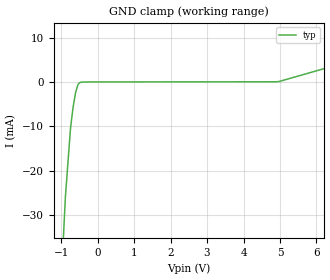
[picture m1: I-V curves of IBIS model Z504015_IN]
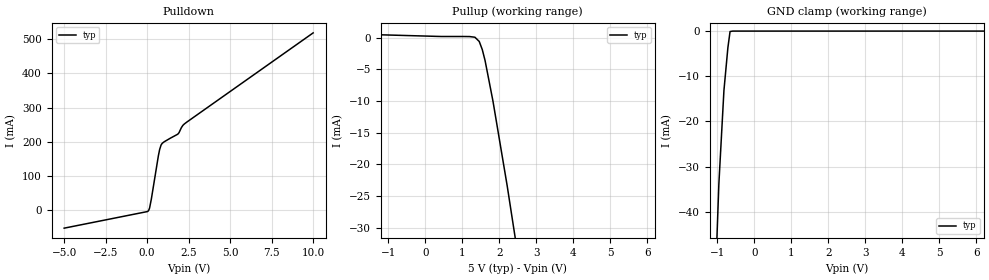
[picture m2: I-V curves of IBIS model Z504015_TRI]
| YOU ARE ONLY AUTHORIZED TO USE THIS SOFTWARE
| ACCORDING TO LICENSOR'S LICENSE RESTRICTIONS.
[IBIS Ver] 3.1
[File Name] mc74f367d.ibs
[File Rev] 2.0
[Source] Measured and created by ICX Technology
[Date] Friday 7/14/00 9:08:05 AM
[Copyright]
| (C) COPYRIGHT 1993-2000
| MENTOR GRAPHICS CORPORATION
| ICX STANDARD LIBRARY, ICX PROJECT MODELING,
| ICX CUSTOM MODELING, ICX VENDOR MODEL
| ALL RIGHTS RESERVED.
| THE FOLLOWING ARE TRADEMARKS OR SERVICE MARKS OF
| MENTOR GRAPHICS CORPORATION:ICX (R), ICX STANDARD
| LIBRARY(R), ICX PROJECT MODELING(R), ICX CUSTOM
| MODELING(R), qualityIBIS(TM), MODELVIEWER(TM),
| AND MODELEDITOR(TM)
| ALL COPIES OF SOFTWARE, INCLUDING BUT NOT LIMITED TO
| ANY MODIFICATIONS, ENHANCEMENTS OR DERIVATIVE WORKS,
| MUST CONTAIN ALL MENTOR GRAPHICS CORPORATION'S
| NOTICES AND LEGENDS, INCLUDING THOSE EMBEDDED IN
| SOFTWARE AND THOSE AFFIXED TO SOFTWARE MEDIUM
| AND CONTAINER, AS RECEIVED FROM MENTOR GRAPHICS
| CORPORATION.
|  ZAP Model Builder 2.7
[Component] MC74F367D
[Manufacturer] OnSemiconductor
[Package]
| variable   typ   min   max
R_pkg  .212ohms NA NA
L_pkg  4.758nH NA NA
C_pkg  1.143pF NA NA
[Pin] signal_name  model_name  R_pin  L_pin C_pin
1 _G1 Z504015_IN .224 7.258n 1.578p
2 A0 Z504015_IN .216 5.258n 1.288p
3 Y0 Z504015_TRI .208 3.758n .998p
4 A1 Z504015_IN .2 2.758n .708p
5 Y1 Z504015_TRI .2 2.758n .708p
6 A2 Z504015_IN .208 3.758n .998p
7 Y2 Z504015_TRI .216 5.258n 1.288p
8 GROUND GND .224 7.258n 1.578p
9 Y3 Z504015_TRI .224 7.258n 1.578p
10 A3 Z504015_IN .216 5.258n 1.288p
11 Y4 Z504015_TRI .208 3.758n .998p
12 A4 Z504015_IN .2 2.758n .708p
13 Y5 Z504015_TRI .2 2.758n .708p
14 A5 Z504015_IN .208 3.758n .998p
15 _G2 Z504015_IN .216 5.258n 1.288p
16 VCC POWER .224 7.258n 1.578p
| Models and submodels in the file (2): Z504015_IN (Input), Z504015_TRI (3-state)
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| (C) COPYRIGHT 1993-2000
| MENTOR GRAPHICS CORPORATION
| ICX STANDARD LIBRARY, ICX PROJECT MODELING,
| ICX CUSTOM MODELING, ICX VENDOR MODEL
| ALL RIGHTS RESERVED.
| THE FOLLOWING ARE TRADEMARKS OR SERVICE MARKS OF
| MENTOR GRAPHICS CORPORATION:ICX (R), ICX STANDARD
| LIBRARY(R), ICX PROJECT MODELING(R), ICX CUSTOM
| MODELING(R), qualityIBIS(TM), MODELVIEWER(TM),
| AND MODELEDITOR(TM)
| ALL COPIES OF SOFTWARE, INCLUDING BUT NOT LIMITED TO
| ANY MODIFICATIONS, ENHANCEMENTS OR DERIVATIVE WORKS,
| MUST CONTAIN ALL MENTOR GRAPHICS CORPORATION'S
| NOTICES AND LEGENDS, INCLUDING THOSE EMBEDDED IN
| SOFTWARE AND THOSE AFFIXED TO SOFTWARE MEDIUM
| AND CONTAINER, AS RECEIVED FROM MENTOR GRAPHICS
| CORPORATION.
| Model Application Version 1.89 2/18/99.
[Model] Z504015_IN
Model_type Input
Vinl = 800.0mV
Vinh = 2.000V
C_comp 4.000pF NA NA
| variable typ   min   max
[Voltage Range] 5.000V NA NA
[GND Clamp Reference] 0.000V NA NA
[POWER Clamp Reference] 5.000V NA NA
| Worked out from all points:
|   GND clamp passes 1 mA (typ) near -0.55 V on its own axis
[GND Clamp]
-5V       -723.9mA   NA         NA
-883.7mV  -26.03mA   NA         NA
-742.1mV  -10.43mA   NA         NA
-671.5mV  -5.666mA   NA         NA
-603.6mV  -2.401mA   NA         NA
-542.1mV  -704.5uA   NA         NA
-527.3mV  -447.4uA   NA         NA
-449mV    -34.24uA   NA         NA
4.974V    95.88uA    NA         NA
10V       11.92mA    NA         NA
[POWER Clamp]
-5V       0A         NA         NA
10V       0A         NA         NA
| (C) COPYRIGHT 1993-2000
| MENTOR GRAPHICS CORPORATION
| ICX STANDARD LIBRARY, ICX PROJECT MODELING,
| ICX CUSTOM MODELING, ICX VENDOR MODEL
| ALL RIGHTS RESERVED.
| THE FOLLOWING ARE TRADEMARKS OR SERVICE MARKS OF
| MENTOR GRAPHICS CORPORATION:ICX (R), ICX STANDARD
| LIBRARY(R), ICX PROJECT MODELING(R), ICX CUSTOM
| MODELING(R), qualityIBIS(TM), MODELVIEWER(TM),
| AND MODELEDITOR(TM)
| ALL COPIES OF SOFTWARE, INCLUDING BUT NOT LIMITED TO
| ANY MODIFICATIONS, ENHANCEMENTS OR DERIVATIVE WORKS,
| MUST CONTAIN ALL MENTOR GRAPHICS CORPORATION'S
| NOTICES AND LEGENDS, INCLUDING THOSE EMBEDDED IN
| SOFTWARE AND THOSE AFFIXED TO SOFTWARE MEDIUM
| AND CONTAINER, AS RECEIVED FROM MENTOR GRAPHICS
| CORPORATION.
| Model Application Version 1.89 2/18/99.
[Model] Z504015_TRI
Model_type 3-state
Vref=0.000V
Rref=500.0ohms
Cref=50.00pF
Vmeas=1.500V
C_comp 8.000pF NA NA
| variable typ   min   max
[Voltage Range] 5.000V NA NA
[POWER Clamp Reference] 5.000V NA NA
[Pullup Reference] 5.000V NA NA
[Pulldown Reference] 0.000V NA NA
[GND Clamp Reference] 0.000V NA NA
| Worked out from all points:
|   slope of the pulldown table from 0 to 0.75 V, typ, clamps not added: 4.15 ohm
|   slope of the pullup table from 0 to 0.75 V, typ, clamps not added: 10.7 kohm
|   GND clamp passes 1 mA (typ) near -0.67 V on its own axis
[GND Clamp]
-5V       -1.358A    NA         NA
-1.069V   -59.47mA   NA         NA
-956.9mV  -33.87mA   NA         NA
-820.2mV  -13.19mA   NA         NA
-712.9mV  -3.67mA    NA         NA
-654.3mV  -96.88uA   NA         NA
-581.6mV  0A         NA         NA
10V       0A         NA         NA
[Pulldown]
-5V       -52.15mA   NA         NA
33.91mV   -3.345mA   NA         NA
146.4mV   6.461mA    NA         NA
253.9mV   33.02mA    NA         NA
674.5mV   158.6mA    NA         NA
752mV     177.3mA    NA         NA
839.9mV   190.8mA    NA         NA
913.1mV   195.9mA    NA         NA
1.845V    222.3mA    NA         NA
2.153V    248.1mA    NA         NA
2.383V    257.4mA    NA         NA
10V       518.1mA    NA         NA
[Pullup]
-5V       1.054mA    NA         NA
424.5mV   160.9uA    NA         NA
1.024V    160.9uA    NA         NA
1.202V    150.1uA    NA         NA
1.343V    43.92uA    NA         NA
1.46V     -620.7uA   NA         NA
1.543V    -1.915mA   NA         NA
1.618V    -3.644mA   NA         NA
1.831V    -10.04mA   NA         NA
2.215V    -23.4mA    NA         NA
10V       -318.3mA   NA         NA
[POWER Clamp]
-5V       0A         NA         NA
10V       0A         NA         NA
[Ramp]
| variable typ min max
dV/dt_r 1.916/1.284n NA NA
dV/dt_f 1.916/1.718n NA NA
R_load = 500.0Ohms
